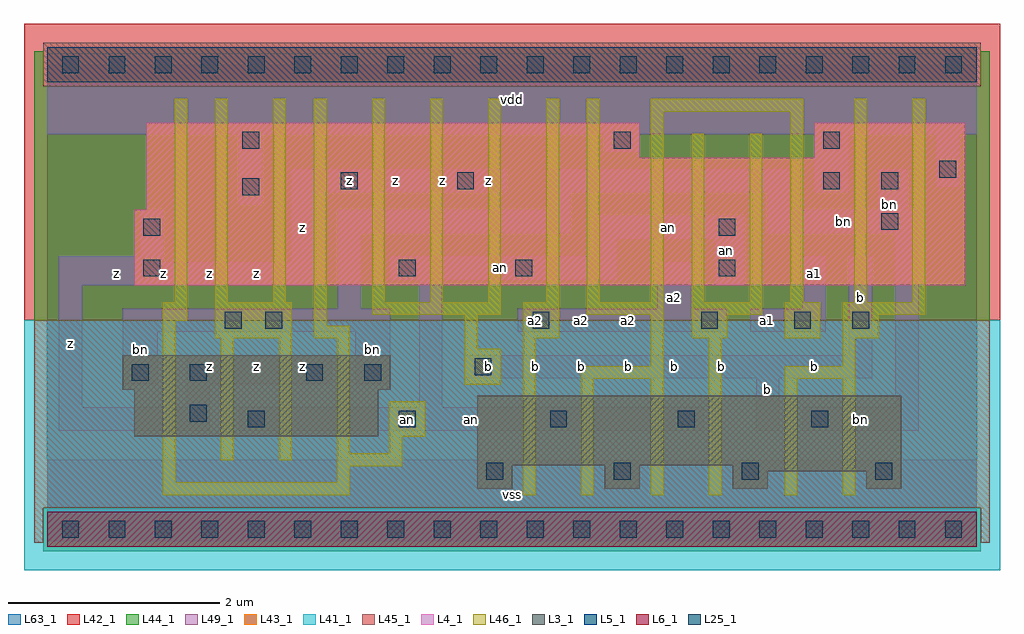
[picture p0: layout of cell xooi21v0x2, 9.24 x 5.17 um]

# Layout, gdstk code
import gdstk
lib = gdstk.Library(unit=1e-6, precision=1e-09)
def R(c, l, rs):  # rectangles x0, y0, x1, y1
    for r in rs: c.add(gdstk.rectangle(r[:2], r[2:], *l))
def A(c, l, x, y, w, h, nx, ny, dx, dy):  # array of equal rectangles
    R(c, l, [(x+i*dx, y+j*dy, x+i*dx+w, y+j*dy+h) for i in range(nx) for j in range(ny)])
L3_1 = (3, 1)
L4_1 = (4, 1)
L5_1 = (5, 1)
L6_1 = (6, 1)
L25_1 = (25, 1)
L41_1 = (41, 1)
L42_1 = (42, 1)
L43_1 = (43, 1)
L44_1 = (44, 1)
L45_1 = (45, 1)
L46_1 = (46, 1)
L49_1 = (49, 1)
L63_1 = (63, 1)

xooi21v0x2 = lib.new_cell('xooi21v0x2')
R(xooi21v0x2, L3_1, [(4.07,0.385,4.4,0.605), (5.28,0.385,5.61,0.605), (6.49,0.385,6.82,0.55), (7.755,0.385,8.085,0.55), (6.49,0.55,8.085,0.605), (4.07,0.605,8.085,1.265), (0.825,0.88,3.135,1.32), (0.715,1.32,3.245,1.65)])
R(xooi21v0x2, L4_1, [(0.825,2.31,8.69,3.025), (0.935,3.025,8.69,3.52), (0.935,3.52,5.61,3.85), (7.26,3.52,8.69,3.85)])
R(xooi21v0x2, L5_1, [(0,4.235,8.8,4.565)])
R(xooi21v0x2, L6_1, [(0,-0.165,8.8,0.165)])
A(xooi21v0x2, L25_1, 0.14, -0.08, 0.16, 0.16, 20, 2, 0.44, 4.4)
A(xooi21v0x2, L25_1, 4.155, 0.47, 0.16, 0.16, 3, 1, 1.21, 0)
A(xooi21v0x2, L25_1, 1.9, 0.965, 0.16, 0.16, 3, 1, 1.43, 0)
R(xooi21v0x2, L25_1, [(7.84,0.47,8,0.63), (5.97,0.965,6.13,1.125), (7.235,0.965,7.395,1.125), (1.35,1.02,1.51,1.18), (0.8,1.405,0.96,1.565), (1.35,1.405,1.51,1.565), (2.45,1.405,2.61,1.565), (3,1.405,3.16,1.565), (4.045,1.46,4.205,1.62), (1.68,1.9,1.84,2.06), (2.065,1.9,2.225,2.06), (4.595,1.9,4.755,2.06), (6.19,1.9,6.35,2.06), (7.07,1.9,7.23,2.06), (7.62,1.9,7.78,2.06), (0.91,2.395,1.07,2.555), (3.33,2.395,3.49,2.555), (4.43,2.395,4.59,2.555), (6.355,2.395,6.515,2.555), (0.91,2.78,1.07,2.94), (6.355,2.78,6.515,2.94), (7.895,2.835,8.055,2.995), (1.845,3.165,2.005,3.325), (2.78,3.22,2.94,3.38), (3.88,3.22,4.04,3.38), (7.345,3.22,7.505,3.38), (7.895,3.22,8.055,3.38), (8.445,3.33,8.605,3.49), (1.845,3.605,2.005,3.765), (5.365,3.605,5.525,3.765), (7.345,3.605,7.505,3.765)])
R(xooi21v0x2, L41_1, [(-0.22,-0.385,9.02,1.98)])
R(xooi21v0x2, L42_1, [(-0.22,1.98,9.02,4.785)])
R(xooi21v0x2, L43_1, [(0,-0.165,8.8,0.165), (4.07,0.385,4.4,0.605), (5.28,0.385,5.61,0.605), (6.49,0.385,6.82,0.55), (7.755,0.385,8.085,0.55), (6.49,0.55,8.085,0.605), (4.07,0.605,8.085,1.265), (0.825,0.88,3.135,1.32), (0.715,1.32,3.245,1.65), (0.825,2.31,8.69,3.025), (0.935,3.025,8.69,3.52), (0.935,3.52,5.61,3.85), (7.26,3.52,8.69,3.85), (0,4.235,8.8,4.565)])
R(xooi21v0x2, L44_1, [(-0.04,-0.205,8.84,0.205), (-0.125,1.98,8.925,4.195), (-0.125,4.195,-0.04,4.525), (8.84,4.195,8.925,4.525)])
R(xooi21v0x2, L45_1, [(-0.125,-0.125,-0.04,0.205), (8.84,-0.125,8.925,0.205), (-0.125,0.205,8.925,1.98), (-0.04,4.195,8.84,4.605)])
A(xooi21v0x2, L46_1, 3.075, 2.15, 0.12, 1.925, 4, 1, 0.55, 0)
R(xooi21v0x2, L46_1, [(1.095,0.325,2.865,0.445), (4.505,0.325,4.625,1.81), (5.055,0.325,5.175,1.425), (5.715,0.325,5.835,1.425), (6.265,0.325,6.385,1.81), (6.98,0.325,7.1,1.425), (7.53,0.325,7.65,1.425), (1.095,0.445,1.215,1.975), (2.745,0.445,2.865,0.6), (2.745,0.6,3.36,0.72), (1.645,0.655,1.765,1.81), (2.195,0.655,2.315,1.81), (2.745,0.72,2.865,1.81), (3.24,0.72,3.36,0.875), (3.24,0.875,3.58,1.215), (3.955,1.37,4.295,1.71), (5.055,1.425,5.835,1.545), (6.98,1.425,7.65,1.545), (5.715,1.545,5.835,2.03), (7.53,1.545,7.65,1.81), (3.955,1.71,4.075,2.03), (1.59,1.81,2.315,2.15), (2.525,1.81,2.865,1.93), (4.505,1.81,4.845,2.15), (6.1,1.81,6.44,2.03), (6.98,1.81,7.32,2.15), (7.53,1.81,7.87,2.03), (2.525,1.93,2.645,4.075), (1.095,1.975,1.325,2.15), (3.075,2.03,4.295,2.15), (5.11,2.03,5.835,2.15), (6.1,2.03,6.77,2.15), (7.53,2.03,8.31,2.15), (1.205,2.15,1.325,4.075), (1.59,2.15,1.71,4.075), (2.14,2.15,2.26,4.075), (5.11,2.15,5.23,4.075), (5.715,2.15,5.835,3.955), (6.1,2.15,6.22,3.745), (6.65,2.15,6.77,3.745), (7.035,2.15,7.155,3.955), (7.64,2.15,7.76,4.075), (8.19,2.15,8.31,4.075), (5.715,3.955,7.155,4.075)])
R(xooi21v0x2, L49_1, [(0,-0.11,8.8,0.66), (0.11,0.935,1.54,1.155), (1.815,0.935,6.215,1.155), (6.71,0.935,6.93,1.43), (7.15,0.935,8.25,1.155), (0.11,1.155,0.33,2.31), (1.32,1.155,1.54,1.375), (3.52,1.155,3.74,2.365), (8.03,1.155,8.25,2.805), (0.715,1.375,1.045,1.87), (1.32,1.375,2.695,1.65), (2.915,1.375,3.245,1.87), (3.96,1.43,7.81,1.65), (7.59,1.65,7.81,2.585), (0.715,1.87,3.245,2.09), (4.455,1.87,6.435,2.09), (6.655,1.87,7.37,2.09), (2.75,2.09,2.97,2.805), (5.775,2.09,6.105,2.53), (7.15,2.09,7.37,2.585), (0.11,2.31,2.53,2.53), (6.325,2.31,6.6,2.75), (3.245,2.365,5.39,2.585), (0.11,2.53,1.1,2.585), (2.31,2.53,2.53,3.19), (0.88,2.585,1.1,3.025), (5.17,2.585,5.39,2.75), (5.17,2.75,6.6,2.97), (2.75,2.805,4.95,3.025), (6.82,2.805,8.25,3.025), (4.73,3.025,4.95,3.19), (6.82,3.025,7.04,3.19), (7.865,3.025,8.14,3.41), (1.815,3.08,2.035,3.74), (2.31,3.19,4.345,3.41), (4.73,3.19,7.04,3.41), (7.26,3.19,7.59,3.74), (8.415,3.245,8.635,3.74), (5.28,3.575,5.61,3.74), (0,3.74,8.8,4.51)])
R(xooi21v0x2, L63_1, [(0,0,8.8,4.4)])
xooi21v0x2.add(gdstk.Label('an', (3.41,1.045), layer=49, texttype=1))
xooi21v0x2.add(gdstk.Label('z', (0.22,1.76), layer=49, texttype=1))
xooi21v0x2.add(gdstk.Label('bn', (0.88,1.705), layer=49, texttype=1))
xooi21v0x2.add(gdstk.Label('z', (0.66,2.42), layer=49, texttype=1))
xooi21v0x2.add(gdstk.Label('z', (1.1,2.42), layer=49, texttype=1))
xooi21v0x2.add(gdstk.Label('z', (1.54,1.54), layer=49, texttype=1))
xooi21v0x2.add(gdstk.Label('z', (1.98,1.54), layer=49, texttype=1))
xooi21v0x2.add(gdstk.Label('z', (2.42,1.54), layer=49, texttype=1))
xooi21v0x2.add(gdstk.Label('bn', (3.08,1.705), layer=49, texttype=1))
xooi21v0x2.add(gdstk.Label('z', (1.54,2.42), layer=49, texttype=1))
xooi21v0x2.add(gdstk.Label('z', (1.98,2.42), layer=49, texttype=1))
xooi21v0x2.add(gdstk.Label('z', (2.42,2.86), layer=49, texttype=1))
xooi21v0x2.add(gdstk.Label('z', (2.86,3.3), layer=49, texttype=1))
xooi21v0x2.add(gdstk.Label('z', (3.3,3.3), layer=49, texttype=1))
xooi21v0x2.add(gdstk.Label('vss', (4.4,0.33), layer=49, texttype=1))
xooi21v0x2.add(gdstk.Label('b', (4.18,1.54), layer=49, texttype=1))
xooi21v0x2.add(gdstk.Label('b', (4.62,1.54), layer=49, texttype=1))
xooi21v0x2.add(gdstk.Label('b', (5.06,1.54), layer=49, texttype=1))
xooi21v0x2.add(gdstk.Label('a2', (4.62,1.98), layer=49, texttype=1))
xooi21v0x2.add(gdstk.Label('a2', (5.06,1.98), layer=49, texttype=1))
xooi21v0x2.add(gdstk.Label('z', (3.74,3.3), layer=49, texttype=1))
xooi21v0x2.add(gdstk.Label('z', (4.18,3.3), layer=49, texttype=1))
xooi21v0x2.add(gdstk.Label('vdd', (4.4,4.07), layer=49, texttype=1))
xooi21v0x2.add(gdstk.Label('b', (5.5,1.54), layer=49, texttype=1))
xooi21v0x2.add(gdstk.Label('an', (4.015,1.045), layer=49, texttype=1))
xooi21v0x2.add(gdstk.Label('b', (5.94,1.54), layer=49, texttype=1))
xooi21v0x2.add(gdstk.Label('b', (6.38,1.54), layer=49, texttype=1))
xooi21v0x2.add(gdstk.Label('b', (6.82,1.32), layer=49, texttype=1))
xooi21v0x2.add(gdstk.Label('a2', (5.5,1.98), layer=49, texttype=1))
xooi21v0x2.add(gdstk.Label('an', (4.29,2.475), layer=49, texttype=1))
xooi21v0x2.add(gdstk.Label('a2', (5.94,2.2), layer=49, texttype=1))
xooi21v0x2.add(gdstk.Label('a1', (6.82,1.98), layer=49, texttype=1))
xooi21v0x2.add(gdstk.Label('an', (6.435,2.64), layer=49, texttype=1))
xooi21v0x2.add(gdstk.Label('an', (5.885,2.86), layer=49, texttype=1))
xooi21v0x2.add(gdstk.Label('b', (7.26,1.54), layer=49, texttype=1))
xooi21v0x2.add(gdstk.Label('bn', (7.7,1.045), layer=49, texttype=1))
xooi21v0x2.add(gdstk.Label('a1', (7.26,2.42), layer=49, texttype=1))
xooi21v0x2.add(gdstk.Label('b', (7.7,2.2), layer=49, texttype=1))
xooi21v0x2.add(gdstk.Label('bn', (7.535,2.915), layer=49, texttype=1))
xooi21v0x2.add(gdstk.Label('bn', (7.975,3.08), layer=49, texttype=1))

lib.write_gds('xooi21v0x2.gds')
